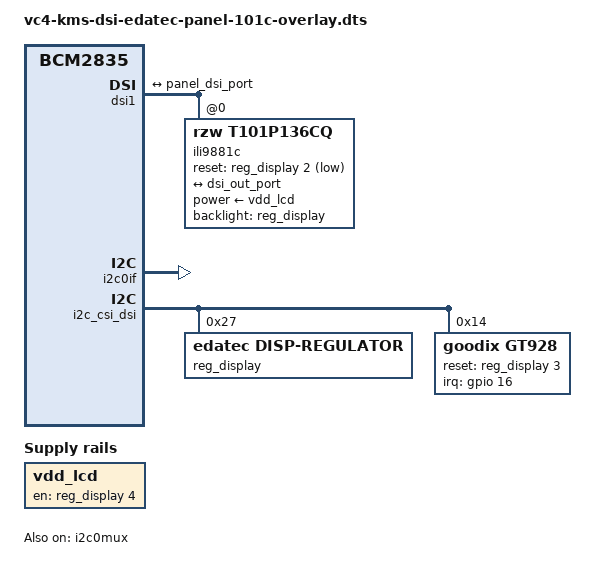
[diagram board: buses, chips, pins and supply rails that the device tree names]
/dts-v1/;
/plugin/;

#include <dt-bindings/gpio/gpio.h>

/ {
	compatible = "brcm,bcm2835";

	fragment@0 {
		target-path = "/";
		__overlay__ {
			vdd_lcd: fixedregulator_lcd {
				compatible = "regulator-fixed";
				regulator-name = "vdd_lcd";

				gpios = <&reg_display 4 GPIO_ACTIVE_HIGH>;
				startup-delay-us = <5000>;
				enable-active-high;
			};
		};
	};

	fragment@1 {
		target = <&dsi1>;
		__overlay__{
			status = "okay";
			#address-cells = <1>;
			#size-cells = <0>;
			port {
				dsi_out_port:endpoint {
					remote-endpoint = <&panel_dsi_port>;
				};
			};

			ili9881c:ili9881c@0 {
				compatible    = "rzw,t101p136cq";
				status        = "okay";
				reg           = <0>;

				reset-gpios = <&reg_display 2 GPIO_ACTIVE_LOW>;
				backlight = <&reg_display>;
				power-supply = <&vdd_lcd>;
				rotation = <270>;

				port {
					panel_dsi_port: endpoint {
						remote-endpoint = <&dsi_out_port>;
					};
				};
			};
		};
	};

	fragment@2 {
		target = <&i2c0if>;
		__overlay__ {
			status = "okay";
		};
	};

	fragment@3 {
		target = <&i2c0mux>;
		__overlay__ {
			status = "okay";
		};
	};

	fragment@4 {
		target = <&gpio>;
		__overlay__ {
			gt928_pins: gt928_pins {
				brcm,pins = <16>;
				brcm,function = <0>;
				brcm,pull = <2>;
			};
		};
	};

	i2c_frag: fragment@5 {
		target = <&i2c_csi_dsi>;
		__overlay__ {
			#address-cells = <1>;
			#size-cells = <0>;
			status = "okay";

			reg_display: reg_display@27 {
				compatible = "edatec,disp-regulator";
				reg = <0x27>;
				gpio-controller;
				#gpio-cells = <2>;
			};

			gt928:gt928@14 {
				compatible = "goodix,gt928";
				reg = <0x14>;
				pinctrl-names = "default";
				pinctrl-0 = <&gt928_pins>;

				reset-gpios = <&reg_display 3 GPIO_ACTIVE_HIGH>;
				interrupt-parent = <&gpio>;
				interrupts = <16 2>;
				irq-gpios = <&gpio 16 GPIO_ACTIVE_HIGH>;
			};
		};
	};

	__overrides__ {
		i2c1 = <&i2c_frag>, "target:0=",<&i2c1>,
			   <0>, "-3-4+5";
		i2c4 = <&i2c_frag>, "target:0=",<&i2c_csi_dsi0>;
		interrupt = <&gt928_pins>, "brcm,pins:0",
				    <&gt928>, "interrupts:0",
				    <&gt928>, "irq-gpios:4";
		rotation = <&ili9881c>, "rotation:0";
	};
};
